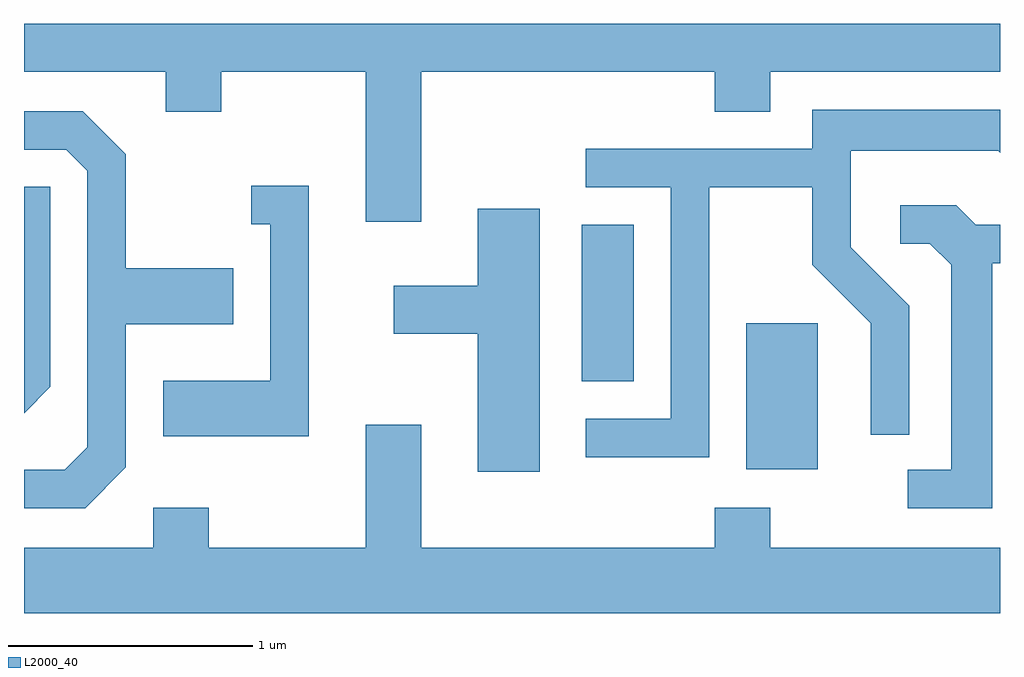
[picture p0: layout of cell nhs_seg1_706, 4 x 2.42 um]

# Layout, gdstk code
import gdstk
lib = gdstk.Library(unit=1e-6, precision=1e-09)
def R(c, l, rs):  # rectangles x0, y0, x1, y1
    for r in rs: c.add(gdstk.rectangle(r[:2], r[2:], *l))
def P(c, l, *ps):  # polygons
    for p in ps: c.add(gdstk.Polygon(p, *l))
L2000_40 = (2000, 40)

nhs_seg1_706 = lib.new_cell('nhs_seg1_706')
R(nhs_seg1_706, L2000_40, [(208.571,957.886,208.864,958.484), (207.896,958.246,208.109,958.889)])
P(nhs_seg1_706, L2000_40, [(207.239,959.516),(208.441,959.516),(208.441,959.351),(208.669,959.351),(208.669,959.516),(209.611,959.516),(209.611,959.712),(205.611,959.712),(205.611,959.516),(206.191,959.516),(206.191,959.351),(206.419,959.351),(206.419,959.516),(207.011,959.516),(207.011,958.901),(207.239,958.901)],
  [(208.419,959.041),(208.841,959.041),(208.841,958.724),(209.081,958.484),(209.081,958.028),(209.239,958.028),(209.239,958.557),(208.999,958.797),(208.999,959.191),(209.604,959.191),(209.611,959.184),(209.611,959.359),(208.841,959.359),(208.841,959.199),(207.913,959.199),(207.913,959.041),(208.261,959.041),(208.261,958.094),(207.913,958.094),(207.913,957.936),(208.419,957.936)],
  [(206.029,957.894),(206.029,958.481),(206.469,958.481),(206.469,958.709),(206.029,958.709),(206.029,959.177),(205.852,959.354),(205.611,959.354),(205.611,959.196),(205.784,959.196),(205.871,959.109),(205.871,957.977),(205.779,957.884),(205.611,957.884),(205.611,957.726),(205.862,957.726)],
  [(206.779,959.049),(206.543,959.049),(206.543,958.891),(206.621,958.891),(206.621,958.249),(206.181,958.249),(206.181,958.021),(206.779,958.021)],
  [(205.719,958.224),(205.719,959.044),(205.611,959.044),(205.611,958.115)],
  [(209.579,958.731),(209.611,958.731),(209.611,958.889),(209.512,958.889),(209.432,958.969),(209.203,958.969),(209.203,958.811),(209.324,958.811),(209.411,958.724),(209.411,957.884),(209.233,957.884),(209.233,957.726),(209.579,957.726)],
  [(207.724,958.954),(207.471,958.954),(207.471,958.639),(207.126,958.639),(207.126,958.441),(207.471,958.441),(207.471,957.876),(207.724,957.876)],
  [(209.611,957.564),(208.669,957.564),(208.669,957.729),(208.441,957.729),(208.441,957.564),(207.239,957.564),(207.239,958.069),(207.011,958.069),(207.011,957.564),(206.369,957.564),(206.369,957.729),(206.141,957.729),(206.141,957.564),(205.611,957.564),(205.611,957.296),(209.611,957.296)])

lib.write_gds('nhs_seg1_706.gds')
